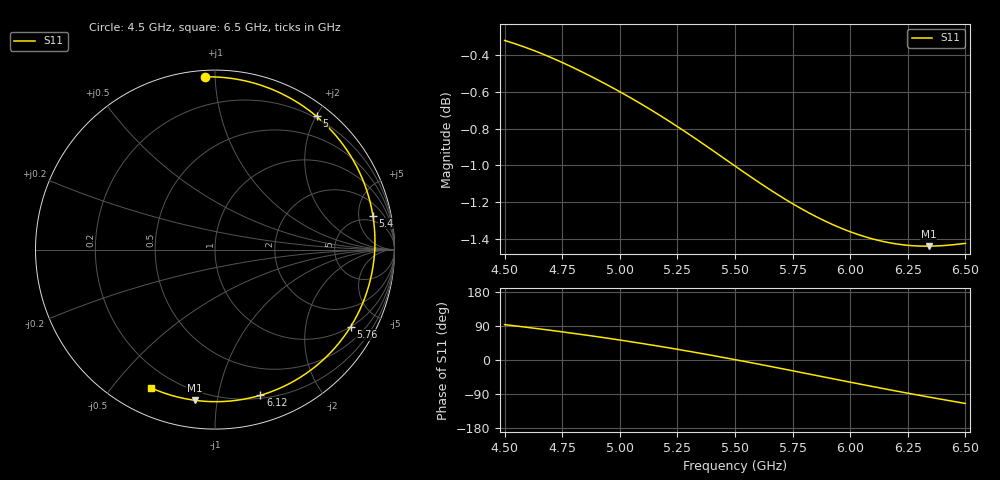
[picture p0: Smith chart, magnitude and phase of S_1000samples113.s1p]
! TOUCHSTONE file generated by CST MICROWAVE STUDIO
! Date and time: Thu Oct 27 01:10:09 2022
! Project name: L.cst
! Parameters = {Di=1.27; Epsilon_r=1.56; InnerDiameter=1.27; Length=2; Lf=10; Lg=60; OuterConductorThickness=0.2921; OuterDiameter=3.6; Wf=3; Wp=41.2; de=1.5; df=6.8; g=0.8; gx=4.93138; gy=3.01189; h=2.34; hf=1.524; px=10.2355; py=10.5248; w=9.7; wx=5.30413; wy=7.51287}
! Header version: 2018
! Port assignment regex: !\s*Touchstone port\s*([0-9]+)\s*=\s*(CST MWS port|CST DS port)\s*([0-9]+|Zmin|Zmax)\s*\(\"(.*)\"\)(\s*mode\s*([0-9]+))?.*
! Touchstone port assignment:
! Touchstone port 1 = CST MWS port 1 ("")
# GHz S DB R 50
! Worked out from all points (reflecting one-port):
!   101 points, 4.5 GHz to 6.5 GHz, reference 50 ohm
!   lowest |S11| = -1.4 dB at 6.34 GHz (marker M1), VSWR 12.08, Z = 7.28 - j43.3 ohm
!   phase of S11 starts at 93 deg and turns -208 deg over the sweep
!   S11 on the Smith chart (normalised r, x): 4.5 GHz: 0.03, +0.94; 5 GHz: 0.17, +2.01; 5.4 GHz: 3.77, +7.52; 5.76 GHz: 1.00, -3.52; 6.12 GHz: 0.23, -1.33; 6.5 GHz: 0.12, -0.63
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4.5  -0.32 93.4
4.58  -0.35 87.5
4.64  -0.38 83.0
4.76  -0.44 73.5
4.88  -0.52 63.4
5  -0.60 52.7
5.12  -0.69 41.3
5.2  -0.75 33.4
5.26  -0.80 27.2
5.34  -0.86 18.7
5.4  -0.92 12.2
5.46  -0.97 5.5
5.5  -1.00 0.9
5.56  -1.06 -6.0
5.62  -1.11 -13.0
5.68  -1.16 -20.1
5.76  -1.22 -29.6
5.82  -1.26 -36.9
5.88  -1.30 -44.1
5.94  -1.33 -51.3
6  -1.36 -58.5
6.06  -1.39 -65.6
6.12  -1.41 -72.7
6.18  -1.43 -79.6
6.26  -1.44 -88.7
6.34  -1.44 -97.6
6.42  -1.44 -106.2
6.5  -1.43 -114.7
